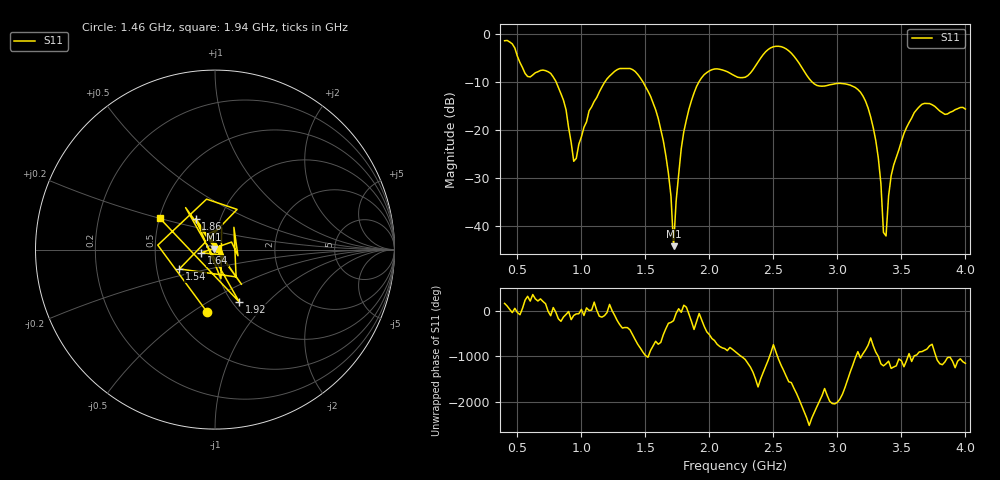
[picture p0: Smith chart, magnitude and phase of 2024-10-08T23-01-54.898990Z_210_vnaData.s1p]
! Created with skrf (http://scikit-rf.org).
# Hz S RI R 50.0
!freq ReS11 ImS11
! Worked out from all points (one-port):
!   181 points, 400 MHz to 4 GHz, reference 50 ohm
!   lowest |S11| = -44.2 dB at 1.72 GHz (marker M1), VSWR 1.01, Z = 49.5 + j0.401 ohm
!   |S11| at or under -10 dB: 803 MHz to 1.182 GHz (379.2 MHz wide, 38.2 % of centre); 1.482 GHz to 1.917 GHz (435.3 MHz wide, 25.6 % of centre); 2.804 GHz to end of sweep
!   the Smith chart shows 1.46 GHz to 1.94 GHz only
!   S11 on the Smith chart (normalised r, x): 1.46 GHz: 0.72, -0.58; 1.54 GHz: 0.66, -0.15; 1.64 GHz: 0.86, -0.03; 1.86 GHz: 0.76, +0.27; 1.92 GHz: 1.08, -0.70; 1.94 GHz: 0.50, +0.20
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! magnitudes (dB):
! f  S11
! 400 MHz  -1.4
! 760 MHz  -8.2
! 860 MHz  -13.8
! 940 MHz  -26.5
! 1.06 GHz  -16.0
! 1.3 GHz  -7.2
! 1.46 GHz  -9.1
! 1.54 GHz  -12.9
! 1.64 GHz  -22.2
! 1.7 GHz  -33.9
! 1.72 GHz  -44.2
! 1.76 GHz  -29.2
! 1.86 GHz  -13.8
! 1.92 GHz  -9.9
! 1.94 GHz  -9.0
! 2.2 GHz  -8.7
! 2.5 GHz  -2.6
! 2.66 GHz  -4.6
! 2.84 GHz  -10.7
! 3.1 GHz  -10.6
! 3.28 GHz  -19.5
! 3.34 GHz  -31.2
! 3.36 GHz  -41.4
! 3.38 GHz  -42.1
! 3.42 GHz  -29.5
! 3.56 GHz  -18.4
! 3.68 GHz  -14.4
! 4 GHz  -15.6
